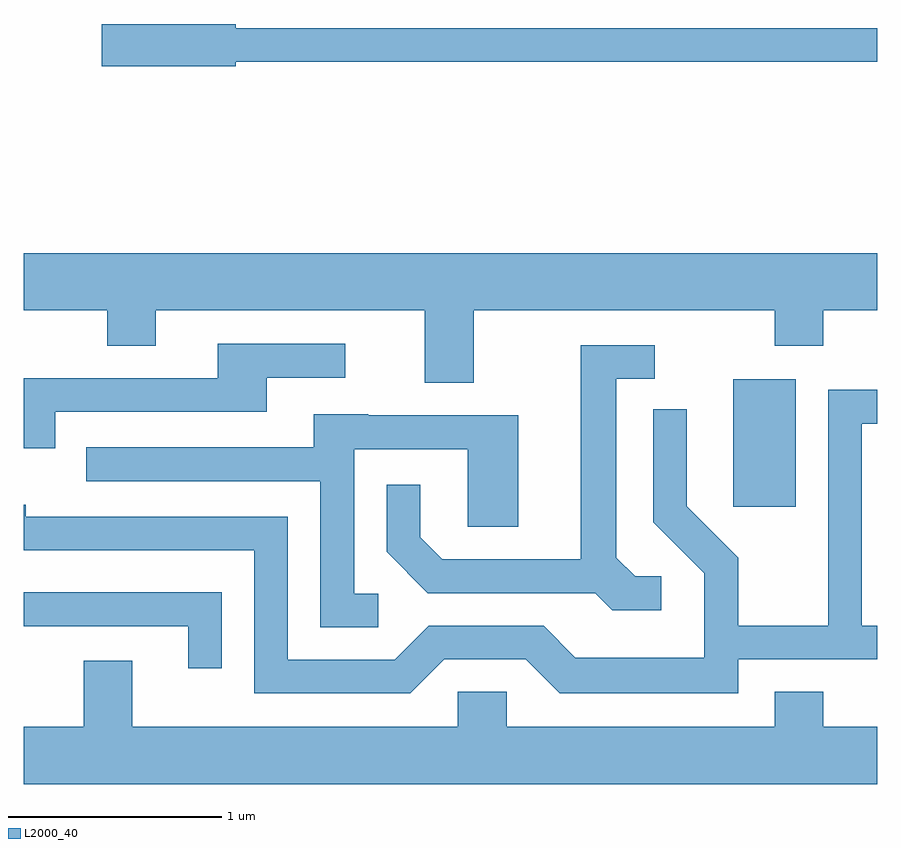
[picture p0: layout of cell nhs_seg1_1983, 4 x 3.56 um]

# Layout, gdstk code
import gdstk
lib = gdstk.Library(unit=1e-6, precision=1e-09)
def R(c, l, rs):  # rectangles x0, y0, x1, y1
    for r in rs: c.add(gdstk.rectangle(r[:2], r[2:], *l))
def P(c, l, *ps):  # polygons
    for p in ps: c.add(gdstk.Polygon(p, *l))
L2000_40 = (2000, 40)

nhs_seg1_1983 = lib.new_cell('nhs_seg1_1983')
R(nhs_seg1_1983, L2000_40, [(248.936,925.296,249.229,925.894)])
P(nhs_seg1_1983, L2000_40, [(246.604,927.381),(249.611,927.381),(249.611,927.539),(246.604,927.539),(246.604,927.559),(245.976,927.559),(245.976,927.361),(246.604,927.361)],
  [(247.719,926.216),(249.131,926.216),(249.131,926.051),(249.359,926.051),(249.359,926.216),(249.611,926.216),(249.611,926.484),(245.611,926.484),(245.611,926.216),(246.001,926.216),(246.001,926.051),(246.229,926.051),(246.229,926.216),(247.491,926.216),(247.491,925.876),(247.719,925.876)],
  [(245.759,925.741),(246.749,925.741),(246.749,925.901),(247.118,925.901),(247.118,926.059),(246.521,926.059),(246.521,925.899),(245.611,925.899),(245.611,925.571),(245.759,925.571)],
  [(248.598,924.969),(248.477,924.969),(248.389,925.057),(248.389,925.896),(248.568,925.896),(248.568,926.054),(248.221,926.054),(248.221,925.049),(247.572,925.049),(247.469,925.152),(247.469,925.398),(247.311,925.398),(247.311,925.084),(247.504,924.891),(248.289,924.891),(248.369,924.811),(248.598,924.811)],
  [(247.582,924.581),(247.964,924.581),(248.124,924.421),(248.959,924.421),(248.959,924.581),(249.611,924.581),(249.611,924.739),(249.539,924.739),(249.539,925.686),(249.611,925.686),(249.611,925.844),(249.381,925.844),(249.381,924.739),(248.959,924.739),(248.959,925.057),(248.719,925.297),(248.719,925.753),(248.561,925.753),(248.561,925.224),(248.801,924.984),(248.801,924.589),(248.197,924.589),(248.047,924.739),(247.509,924.739),(247.349,924.579),(246.849,924.579),(246.849,925.249),(245.619,925.249),(245.619,925.304),(245.611,925.304),(245.611,925.091),(246.691,925.091),(246.691,924.421),(247.422,924.421)],
  [(247.273,924.889),(247.159,924.889),(247.159,925.566),(247.691,925.566),(247.691,925.201),(247.929,925.201),(247.929,925.724),(247.225,925.724),(247.225,925.729),(246.971,925.729),(246.971,925.574),(245.903,925.574),(245.903,925.416),(247.001,925.416),(247.001,924.731),(247.273,924.731)],
  [(246.539,924.894),(245.611,924.894),(245.611,924.736),(246.381,924.736),(246.381,924.538),(246.539,924.538)],
  [(249.611,924.264),(249.359,924.264),(249.359,924.429),(249.131,924.429),(249.131,924.264),(247.874,924.264),(247.874,924.429),(247.646,924.429),(247.646,924.264),(246.119,924.264),(246.119,924.574),(245.891,924.574),(245.891,924.264),(245.611,924.264),(245.611,923.996),(249.611,923.996)])

lib.write_gds('nhs_seg1_1983.gds')
